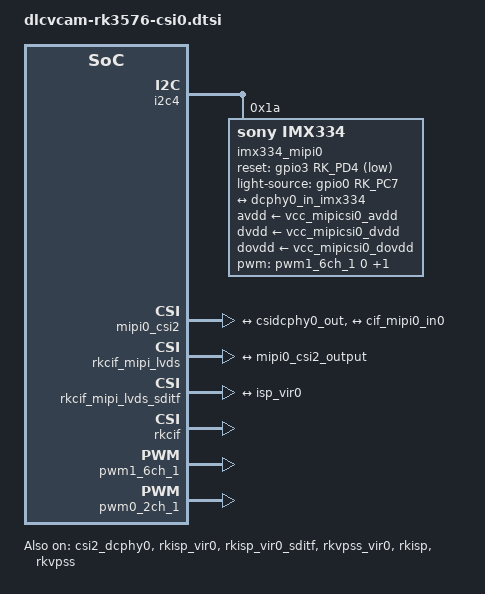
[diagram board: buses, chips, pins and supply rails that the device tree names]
/********************************************************************
 * SPDX-License-Identifier: (GPL-2.0+ OR MIT)
 *
 * Copyright (c) 2023 Rockchip Electronics Co., Ltd.
 * Copyright (c) 2026 LCKFB <lckfb@sz-jlc.com>
 *********************************************************************
 * Wiki-(Chinese)：https://wiki.lckfb.com/
 * Wiki-(English)：https://wiki.lckfb.com/en/
 *********************************************************************/


/*-----------------------------------------------------------
 * Camera Power Enable
 *----------------------------------------------------------*/
&vcc_1v2_mipi_csi {
	status = "okay";
};

&vcc_1v8_mipi_csi {
    status = "okay";
};

&vcc_2v8_mipi_csi {
    status = "okay";
};

/*-----------------------------------------------------------
 * Camera Link Configuration
 *----------------------------------------------------------*/
&i2c4 {
	status = "okay";
	pinctrl-0 = <&i2c4m3_xfer>;

	imx334_mipi0: imx334@1a {
		status = "okay";
		compatible = "sony,imx334";
		reg = <0x1a>;
		/* Module has on-board 37.125MHz oscillator, disable board MCLK */
		/* clocks = <&cru CLK_MIPI_CAMERAOUT_M0>; */
		/* assigned-clocks = <&cru CLK_MIPI_CAMERAOUT_M0>; */
		/* assigned-clock-rates = <74250000>; */
		/* clock-names = "inck"; */
		/* pinctrl-names = "default"; */
		/* pinctrl-0 = <&cam_clk0m0_clk0>; */
		power-domains = <&power RK3576_PD_VI>;

		avdd-supply = <&vcc_mipicsi0_avdd>;
		dvdd-supply = <&vcc_mipicsi0_dvdd>;
		dovdd-supply = <&vcc_mipicsi0_dovdd>;

		reset-gpios = <&gpio3 RK_PD4 GPIO_ACTIVE_LOW>;

		/* IMX334 slave sync: XVS=GPIO0_B5, XHS=GPIO2_C7. */
		pwm-names = "xvs", "xhs";
		pwms = <&pwm1_6ch_1 0 33333333 0>,
		       <&pwm0_2ch_1 0 14815 0>;
		rockchip,xvs-pulse-us = <15>;
		rockchip,xvs-period-ns = <33333333>;
		rockchip,xhs-period-ns = <14815>;
		rockchip,xhs-duty-ns = <200>;

		/* Light source control on GPIO1/OUTPUT1 = GPIO0_C7 */
		light-source-gpios = <&gpio0 RK_PC7 GPIO_ACTIVE_HIGH>;
		light-source-active-level = "low";
		light-source-exposure-advance-us = <0>;
		light-source-exposure-off-delay-us = <0>;

		pinctrl-names = "default", "active-high";
		pinctrl-0 = <&imx334_light_source_pin>;
		pinctrl-1 = <&imx334_light_source_active_high_pin>;

		rockchip,camera-module-index = <0>;
		rockchip,camera-module-facing = "back";
		rockchip,camera-module-name = "IMX334-MIPI";
		rockchip,camera-module-lens-name = "default";

		/* 0 = FREE_RUN, 1 = XVS_XHS_ONE_SHOT */
		trigger-mode = <1>;

		port {
			imx334_dcphy0_out: endpoint {
				remote-endpoint = <&dcphy0_in_imx334>;
				clock-lanes = <0>;
				data-lanes = <1 2 3 4>;
				link-frequencies = /bits/ 64 <445500000>;
			};
		};
	};
};


&csi2_dcphy0 {
	status = "okay";

	ports {
		#address-cells = <1>;
		#size-cells = <0>;
		port@0 {
			reg = <0>;
			#address-cells = <1>;
			#size-cells = <0>;

			dcphy0_in_imx334: endpoint@1 {
				reg = <1>;
				remote-endpoint = <&imx334_dcphy0_out>;
				data-lanes = <1 2 3 4>;
			};
		};
		port@1 {
			reg = <1>;
			#address-cells = <1>;
			#size-cells = <0>;

			csidcphy0_out: endpoint@0 {
				reg = <0>;
				remote-endpoint = <&mipi0_csi2_input>;
			};
		};
	};
};


&mipi0_csi2 {
	status = "okay";

	ports {
		#address-cells = <1>;
		#size-cells = <0>;

		port@0 {
			reg = <0>;
			#address-cells = <1>;
			#size-cells = <0>;

			mipi0_csi2_input: endpoint@1 {
				reg = <1>;
				remote-endpoint = <&csidcphy0_out>;
			};
		};

		port@1 {
			reg = <1>;
			#address-cells = <1>;
			#size-cells = <0>;

			mipi0_csi2_output: endpoint@0 {
				reg = <0>;
				remote-endpoint = <&cif_mipi0_in0>;
			};
		};
	};
};

&rkcif_mipi_lvds {
	status = "okay";

	port {
		cif_mipi0_in0: endpoint {
			remote-endpoint = <&mipi0_csi2_output>;
		};
	};
};

&rkcif_mipi_lvds_sditf {
	status = "okay";

	port {
		mipi_lvds_sditf: endpoint {
			remote-endpoint = <&isp_vir0>;
		};
	};
};

&rkisp_vir0 {
	status = "okay";

	port {
		#address-cells = <1>;
		#size-cells = <0>;

		isp_vir0: endpoint@0 {
			reg = <0>;
			remote-endpoint = <&mipi_lvds_sditf>;
		};
	};
};


/*-----------------------------------------------------------
 * MIPI-CSI-0 Link Virtual Interface Enable
 *----------------------------------------------------------*/
&rkisp_vir0_sditf {
	status = "okay";
};

&rkvpss_vir0 {
	status = "okay";
};


/*-----------------------------------------------------------
 * General Configuration
 *----------------------------------------------------------*/
&rkcif {
	status = "okay";
};

&rkcif_mmu {
	status = "okay";
};

&rkisp {
	status = "okay";
};

&rkisp_mmu {
	status = "okay";
};

&rkvpss {
	status = "okay";
};

&rkvpss_mmu {
	status = "okay";
};

/*-----------------------------------------------------------
 * IMX334 XVS on PWM1 CH1 M0 / GPIO0_B5
 *----------------------------------------------------------*/
&pwm1_6ch_1 {
	status = "okay";
};

/* IMX334 XHS on PWM0 CH1 M2 / GPIO2_C7. */
&pwm0_2ch_1 {
	status = "okay";
	pinctrl-names = "active";
	pinctrl-0 = <&pwm0m2_ch1>;
};
